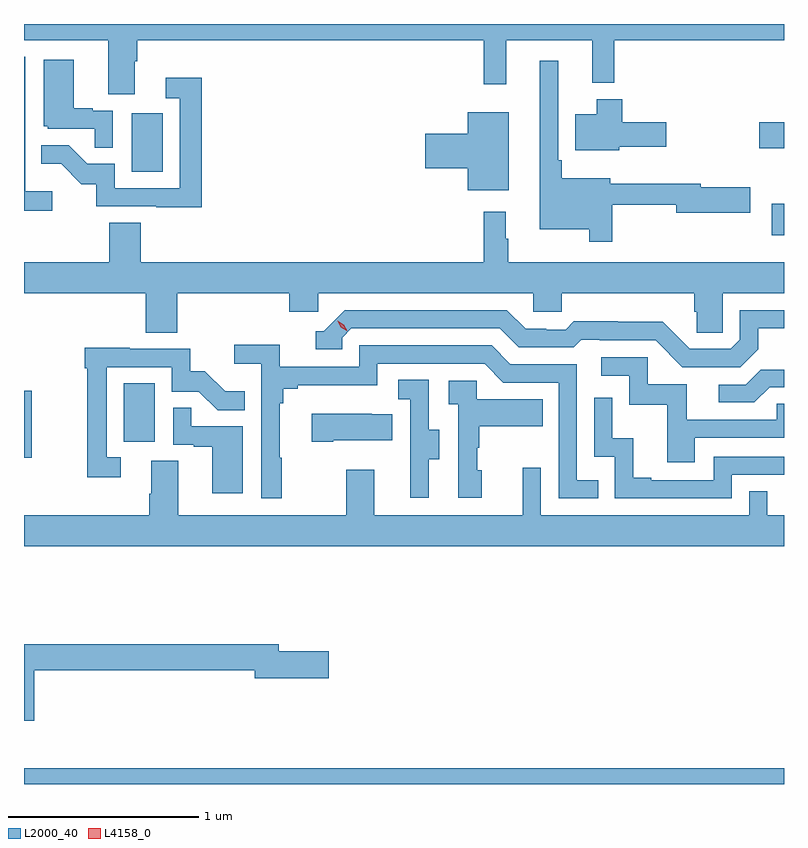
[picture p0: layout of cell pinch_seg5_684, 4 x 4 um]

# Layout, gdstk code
import gdstk
lib = gdstk.Library(unit=1e-6, precision=1e-09)
def R(c, l, rs):  # rectangles x0, y0, x1, y1
    for r in rs: c.add(gdstk.rectangle(r[:2], r[2:], *l))
def P(c, l, *ps):  # polygons
    for p in ps: c.add(gdstk.Polygon(p, *l))
L2000_40 = (2000, 40)
L4158_0 = (4158, 0)

pinch_seg5_684 = lib.new_cell('pinch_seg5_684')
R(pinch_seg5_684, L2000_40, [(1114.29,834.197,1118.29,834.28), (1114.29,835.913,1114.33,836.266), (1114.814,835.998,1114.978,836.305), (1118.226,837.086,1118.29,837.252), (1114.856,837.42,1115.02,837.727), (1118.16,837.544,1118.29,837.681)])
P(pinch_seg5_684, L2000_40, [(1114.873,838),(1114.886,838),(1114.886,838.112),(1116.709,838.112),(1116.709,837.879),(1116.827,837.879),(1116.827,838.112),(1117.28,838.112),(1117.28,837.887),(1117.397,837.887),(1117.397,838.112),(1118.29,838.112),(1118.29,838.197),(1114.29,838.197),(1114.29,838.112),(1114.733,838.112),(1114.733,837.826),(1114.873,837.826)],
  [(1114.438,837.316),(1114.296,837.316),(1114.296,838.024),(1114.29,838.024),(1114.29,837.214),(1114.438,837.214)],
  [(1114.758,837.741),(1114.652,837.741),(1114.652,837.754),(1114.552,837.754),(1114.552,838.009),(1114.394,838.009),(1114.394,837.66),(1114.416,837.66),(1114.416,837.645),(1114.663,837.645),(1114.663,837.547),(1114.758,837.547)],
  [(1117.387,837.246),(1117.724,837.246),(1117.724,837.203),(1118.113,837.203),(1118.113,837.338),(1117.852,837.338),(1117.852,837.356),(1117.375,837.356),(1117.375,837.385),(1117.121,837.385),(1117.121,837.481),(1117.101,837.481),(1117.101,838.003),(1117.004,838.003),(1117.004,837.116),(1117.266,837.116),(1117.266,837.051),(1117.387,837.051)],
  [(1115.225,837.913),(1115.037,837.913),(1115.037,837.807),(1115.109,837.807),(1115.109,837.333),(1114.767,837.333),(1114.767,837.462),(1114.623,837.462),(1114.525,837.56),(1114.381,837.56),(1114.381,837.461),(1114.485,837.461),(1114.592,837.354),(1114.669,837.354),(1114.669,837.237),(1114.987,837.237),(1114.987,837.232),(1115.225,837.232)],
  [(1117.422,837.551),(1117.669,837.551),(1117.669,837.681),(1117.439,837.681),(1117.439,837.802),(1117.304,837.802),(1117.304,837.721),(1117.19,837.721),(1117.19,837.533),(1117.422,837.533)],
  [(1116.841,837.733),(1116.626,837.733),(1116.626,837.62),(1116.402,837.62),(1116.402,837.437),(1116.626,837.437),(1116.626,837.323),(1116.841,837.323)],
  [(1116.838,837.068),(1116.826,837.068),(1116.826,837.208),(1116.709,837.208),(1116.709,836.944),(1114.904,836.944),(1114.904,837.152),(1114.739,837.152),(1114.739,836.944),(1114.29,836.944),(1114.29,836.78),(1114.931,836.78),(1114.931,836.572),(1115.096,836.572),(1115.096,836.78),(1115.687,836.78),(1115.687,836.682),(1115.838,836.682),(1115.838,836.78),(1116.969,836.78),(1116.969,836.682),(1117.119,836.682),(1117.119,836.78),(1117.817,836.78),(1117.817,836.682),(1117.831,836.682),(1117.831,836.572),(1117.968,836.572),(1117.968,836.78),(1118.29,836.78),(1118.29,836.944),(1116.838,836.944)],
  [(1118.155,836.485),(1118.155,836.595),(1118.29,836.595),(1118.29,836.691),(1118.058,836.691),(1118.058,836.535),(1118.01,836.487),(1117.794,836.487),(1117.652,836.629),(1117.416,836.629),(1117.416,836.632),(1117.183,836.632),(1117.141,836.589),(1117.038,836.589),(1117.038,836.592),(1116.931,836.592),(1116.832,836.691),(1115.979,836.691),(1115.868,836.58),(1115.825,836.58),(1115.825,836.484),(1115.964,836.484),(1115.964,836.547),(1116.012,836.595),(1116.795,836.595),(1116.894,836.496),(1117.183,836.496),(1117.222,836.535),(1117.321,836.535),(1117.321,836.532),(1117.614,836.532),(1117.755,836.391),(1118.061,836.391)],
  [(1115.647,835.913),(1115.635,835.913),(1115.635,836.201),(1115.654,836.201),(1115.654,836.278),(1115.731,836.278),(1115.731,836.297),(1116.15,836.297),(1116.15,836.409),(1116.714,836.409),(1116.813,836.31),(1117.104,836.31),(1117.104,835.701),(1117.313,835.701),(1117.313,835.797),(1117.2,835.797),(1117.2,836.406),(1116.85,836.406),(1116.751,836.505),(1116.054,836.505),(1116.054,836.394),(1115.636,836.394),(1115.636,836.51),(1115.397,836.51),(1115.397,836.408),(1115.538,836.408),(1115.538,835.701),(1115.647,835.701)],
  [(1114.798,835.917),(1114.725,835.917),(1114.725,836.391),(1115.067,836.391),(1115.067,836.262),(1115.211,836.262),(1115.309,836.164),(1115.453,836.164),(1115.453,836.263),(1115.349,836.263),(1115.242,836.37),(1115.166,836.37),(1115.166,836.487),(1114.847,836.487),(1114.847,836.492),(1114.609,836.492),(1114.609,836.384),(1114.624,836.384),(1114.624,835.812),(1114.798,835.812)],
  [(1117.819,836.019),(1118.29,836.019),(1118.29,836.199),(1118.251,836.199),(1118.251,836.115),(1117.777,836.115),(1117.777,836.301),(1117.572,836.301),(1117.572,836.442),(1117.329,836.442),(1117.329,836.346),(1117.476,836.346),(1117.476,836.193),(1117.675,836.193),(1117.675,835.89),(1117.819,835.89)],
  [(1118.215,836.286),(1118.29,836.286),(1118.29,836.378),(1118.168,836.378),(1118.088,836.298),(1117.947,836.298),(1117.947,836.205),(1118.134,836.205)],
  [(1116.421,835.906),(1116.475,835.906),(1116.475,836.061),(1116.42,836.061),(1116.42,836.324),(1116.261,836.324),(1116.261,836.221),(1116.324,836.221),(1116.324,835.917),(1116.323,835.917),(1116.323,835.704),(1116.421,835.704)],
  [(1116.7,835.848),(1116.675,835.848),(1116.675,835.967),(1116.685,835.967),(1116.685,836.081),(1117.019,836.081),(1117.019,836.221),(1116.672,836.221),(1116.672,836.319),(1116.525,836.319),(1116.525,836.195),(1116.576,836.195),(1116.576,835.704),(1116.7,835.704)],
  [(1118.016,835.824),(1118.29,835.824),(1118.29,835.92),(1117.92,835.92),(1117.92,835.797),(1117.591,835.797),(1117.591,835.81),(1117.496,835.81),(1117.496,836.018),(1117.386,836.018),(1117.386,836.23),(1117.29,836.23),(1117.29,835.92),(1117.398,835.92),(1117.398,835.701),(1118.016,835.701)],
  [(1115.44,836.079),(1115.171,836.079),(1115.171,836.177),(1115.076,836.177),(1115.076,835.983),(1115.183,835.983),(1115.183,835.971),(1115.282,835.971),(1115.282,835.728),(1115.44,835.728)],
  [(1115.917,836.006),(1116.227,836.006),(1116.227,836.143),(1116.119,836.143),(1116.119,836.146),(1115.805,836.146),(1115.805,835.999),(1115.917,835.999)],
  [(1118.29,835.612),(1118.202,835.612),(1118.202,835.739),(1118.106,835.739),(1118.106,835.612),(1117.011,835.612),(1117.011,835.861),(1116.914,835.861),(1116.914,835.612),(1116.133,835.612),(1116.133,835.852),(1115.986,835.852),(1115.986,835.612),(1115.101,835.612),(1115.101,835.898),(1114.961,835.898),(1114.961,835.724),(1114.949,835.724),(1114.949,835.612),(1114.29,835.612),(1114.29,835.448),(1118.29,835.448)],
  [(1114.343,834.796),(1115.504,834.796),(1115.504,834.754),(1115.893,834.754),(1115.893,834.896),(1115.632,834.896),(1115.632,834.932),(1114.29,834.932),(1114.29,834.531),(1114.343,834.531)])
P(pinch_seg5_684, L4158_0, [(1115.989,836.582),(1115.958,836.601),(1115.942,836.634),(1115.942,836.634),(1115.942,836.634),(1115.973,836.615),(1115.99,836.582),(1115.99,836.582)])

lib.write_gds('pinch_seg5_684.gds')
